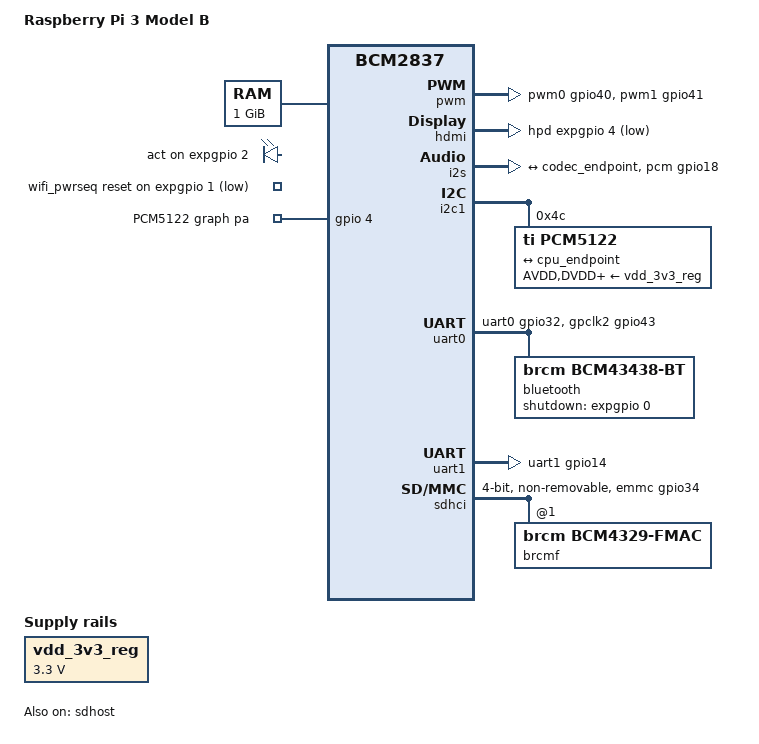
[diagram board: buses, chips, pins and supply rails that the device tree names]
// SPDX-License-Identifier: GPL-2.0
/dts-v1/;
#include "bcm2837.dtsi"
#include "bcm2835-rpi.dtsi"
#include "bcm283x-rpi-smsc9514.dtsi"
#include "bcm283x-rpi-usb-host.dtsi"

/ {
	compatible = "raspberrypi,3-model-b", "brcm,bcm2837";
	model = "Raspberry Pi 3 Model B";

	chosen {
		/* 8250 auxiliary UART instead of pl011 */
		stdout-path = "serial1:115200n8";
	};

	memory {
		reg = <0 0x40000000>;
	};

	leds {
		act {
			gpios = <&expgpio 2 GPIO_ACTIVE_HIGH>;
		};
	};

	wifi_pwrseq: wifi-pwrseq {
		compatible = "mmc-pwrseq-simple";
		reset-gpios = <&expgpio 1 GPIO_ACTIVE_LOW>;
	};

	soc {
		vdd_3v3_reg: fixedregulator_3v3 {
			compatible = "regulator-fixed";
			regulator-name = "3v3";
			regulator-min-microvolt = <3300000>;
			regulator-max-microvolt = <3300000>;
			regulator-always-on;
		};
	};

	sound {
		compatible = "audio-graph-card";
		label = "PCM5122 graph";
		dais = <&cpu_port>;
		status = "okay";

		pinctrl-names = "default";
		pinctrl-0 = <&audio_amplifier_pins>;
		pa-gpios = <&gpio 4 0>;

		widgets = "Speaker", "Speaker Out Jack";

		routing =
			"Amplifier", "OUTL",
			"Amplifier", "OUTR",

			"Speaker Out Jack", "Amplifier";
	};
};

&firmware {
	expgpio: gpio {
		compatible = "raspberrypi,firmware-gpio";
		gpio-controller;
		#gpio-cells = <2>;
		gpio-line-names = "BT_ON",
				  "WL_ON",
				  "STATUS_LED",
				  "LAN_RUN",
				  "HPD_N",
				  "CAM_GPIO0",
				  "CAM_GPIO1",
				  "PWR_LOW_N";
		status = "okay";
	};
};

&pwm {
	pinctrl-names = "default";
	pinctrl-0 = <&pwm0_gpio40 &pwm1_gpio41>;
	status = "okay";
};

&hdmi {
	hpd-gpios = <&expgpio 4 GPIO_ACTIVE_LOW>;
};

&gpio {
	audio_amplifier_pins: audio_amplifier_pins {
		brcm,pins = <4>;
		brcm,function = <1>;    // out
	};
};

&alt0 {
	brcm,pins = <5 7 8 9 10 11>;
};

&i2s {
	#sound-dai-cells = <0>;
	reg = <0x7e203000 0x24>;
	clocks = <&clocks BCM2835_CLOCK_PCM>;
	pinctrl-names = "default";
	pinctrl-0 = <&pcm_gpio18>;
	status = "okay";

	cpu_port: port {
		cpu_endpoint: endpoint {
			remote-endpoint = <&codec_endpoint>;
			dai-format = "i2s";
		};
	};
};

&i2c1 {
	#address-cells = <1>;
	#size-cells = <0>;
	status	= "okay";

	pcm5122@4c {
		#sound-dai-cells = <0>;
		compatible = "ti,pcm5122";
		reg = <0x4c>;
		AVDD-supply = <&vdd_3v3_reg>;
		DVDD-supply = <&vdd_3v3_reg>;
		CPVDD-supply = <&vdd_3v3_reg>;
		status = "okay";

		port {
			codec_endpoint: endpoint {
				remote-endpoint = <&cpu_endpoint>;
			};
		};
	};
};

/* uart0 communicates with the BT module */
&uart0 {
	pinctrl-names = "default";
	pinctrl-0 = <&uart0_gpio32 &gpclk2_gpio43>;
	status = "okay";

	bluetooth {
		compatible = "brcm,bcm43438-bt";
		max-speed = <2000000>;
		shutdown-gpios = <&expgpio 0 GPIO_ACTIVE_HIGH>;
	};
};

/* uart1 is mapped to the pin header */
&uart1 {
	pinctrl-names = "default";
	pinctrl-0 = <&uart1_gpio14>;
	status = "okay";
};

/* SDHCI is used to control the SDIO for wireless */
&sdhci {
	#address-cells = <1>;
	#size-cells = <0>;
	pinctrl-names = "default";
	pinctrl-0 = <&emmc_gpio34>;
	status = "okay";
	bus-width = <4>;
	non-removable;
	mmc-pwrseq = <&wifi_pwrseq>;

	brcmf: wifi@1 {
		reg = <1>;
		compatible = "brcm,bcm4329-fmac";
	};
};

/* SDHOST is used to drive the SD card */
&sdhost {
	pinctrl-names = "default";
	pinctrl-0 = <&sdhost_gpio48>;
	status = "okay";
	bus-width = <4>;
};
